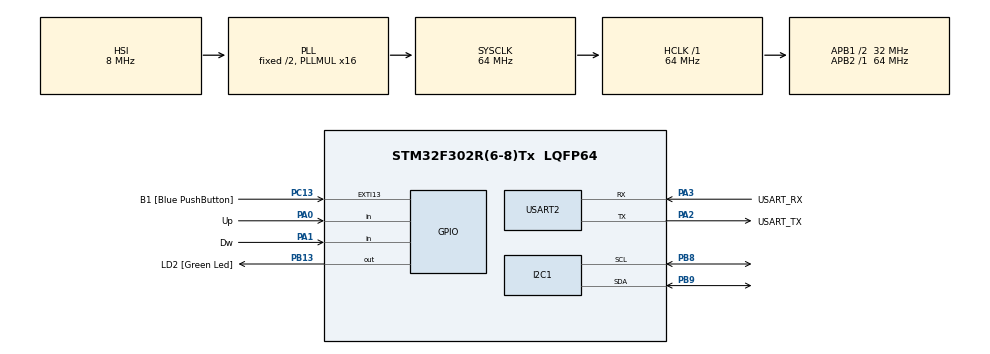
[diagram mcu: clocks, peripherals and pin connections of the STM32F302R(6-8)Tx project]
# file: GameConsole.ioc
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Mcu.Family=STM32F3
Mcu.Name=STM32F302R(6-8)Tx
Mcu.Package=LQFP64
NVIC.PriorityGroup=NVIC_PRIORITYGROUP_0
PA0.GPIO_Label=Up
PA0.GPIO_PuPd=GPIO_PULLDOWN
PA0.Signal=GPIO_Input
PA1.GPIO_Label=Dw
PA1.GPIO_PuPd=GPIO_PULLDOWN
PA1.Signal=GPIO_Input
PA13.GPIO_Label=TMS
PA13.Mode=Serial_Wire
PA13.Signal=SYS_JTMS-SWDIO
PA14.GPIO_Label=TCK
PA14.Mode=Serial_Wire
PA14.Signal=SYS_JTCK-SWCLK
PA2.GPIO_Label=USART_TX
PA2.GPIO_Mode=GPIO_MODE_AF_PP
PA2.GPIO_PuPd=GPIO_NOPULL
PA2.GPIO_Speed=GPIO_SPEED_FREQ_LOW
PA2.Mode=Asynchronous
PA2.Signal=USART2_TX
PA3.GPIO_Label=USART_RX
PA3.GPIO_Mode=GPIO_MODE_AF_PP
PA3.GPIO_PuPd=GPIO_NOPULL
PA3.GPIO_Speed=GPIO_SPEED_FREQ_LOW
PA3.Mode=Asynchronous
PA3.Signal=USART2_RX
PB13.GPIO_Label=LD2 [Green Led]
PB13.Signal=GPIO_Output
PB3.GPIO_Label=SWO
PB3.Mode=Trace_Asynchronous_SW
PB3.Signal=SYS_JTDO-TRACESWO
PB8.Mode=I2C
PB8.Signal=I2C1_SCL
PB9.Mode=I2C
PB9.Signal=I2C1_SDA
PC13.GPIO_Label=B1 [Blue PushButton]
PC13.GPIO_ModeDefaultEXTI=GPIO_MODE_IT_FALLING
PC13.Signal=GPXTI13
PC14\ -\ OSC32_IN.Mode=LSE-External-Oscillator
PC14\ -\ OSC32_IN.Signal=RCC_OSC32_IN
PC15\ -\ OSC32_OUT.Mode=LSE-External-Oscillator
PC15\ -\ OSC32_OUT.Signal=RCC_OSC32_OUT
PF0-OSC_IN.Mode=HSE-External-Clock-Source
PF0-OSC_IN.Signal=RCC_OSC_IN
PF1-OSC_OUT.Signal=RCC_OSC_OUT
ProjectManager.HeapSize=0x200
ProjectManager.StackSize=0x400
ProjectManager.TargetToolchain=STM32CubeIDE
RCC.AHBFreq_Value=64000000
RCC.APB1CLKDivider=RCC_HCLK_DIV2
RCC.APB1Freq_Value=32000000
RCC.APB1TimFreq_Value=64000000
RCC.APB2Freq_Value=64000000
RCC.APB2TimFreq_Value=64000000
RCC.CortexFreq_Value=64000000
RCC.HCLKFreq_Value=64000000
RCC.HSE_VALUE=8000000
RCC.HSI_VALUE=8000000
RCC.PLLM=8
RCC.PLLMUL=RCC_PLL_MUL16
RCC.PLLN=336
RCC.PLLP=RCC_PLLP_DIV4
RCC.PLLQ=7
RCC.RCC_PLLsource_Clock_Source_FROM_HSE=RCC_HSE_PREDIV_DIV2
RCC.SYSCLKFreq_VALUE=64000000
RCC.SYSCLKSourceVirtual=RCC_SYSCLKSOURCE_PLLCLK
RCC.USBFreq_Value=64000000
USART2.VirtualMode-Asynchronous=VM_ASYNC
board=NUCLEO-F302R8

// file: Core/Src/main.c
/* USER CODE BEGIN Header */
/**
  ******************************************************************************
  * @file           : main.c
  * @brief          : Main program body
  ******************************************************************************
  * @attention
  *
  * Copyright (c) 2024 STMicroelectronics.
  * All rights reserved.
  *
  * This software is licensed under terms that can be found in the LICENSE file
  * in the root directory of this software component.
  * If no LICENSE file comes with this software, it is provided AS-IS.
  *
  ******************************************************************************
  */
/* USER CODE END Header */
#include "main.h"

/* USER CODE BEGIN Includes */
void CreateArrow();
/* USER CODE END Includes */

I2C_HandleTypeDef hi2c1;

UART_HandleTypeDef huart2;

void SystemClock_Config(void);
static void MX_GPIO_Init(void);
static void MX_USART2_UART_Init(void);
static void MX_I2C1_Init(void);

/* USER CODE BEGIN 0 */
int State=0;
int Flag=0;
char Fish[]="><>";
int total=0;
/* USER CODE END 0 */

int main(void)
{

  /* MCU Configuration--------------------------------------------------------*/

  /* Reset of all peripherals, Initializes the Flash interface and the Systick. */
  HAL_Init();

  /* Configure the system clock */
  SystemClock_Config();

  /* Initialize all configured peripherals */
  MX_GPIO_Init();
  MX_USART2_UART_Init();
  MX_I2C1_Init();
  /* USER CODE BEGIN 2 */
  lcd_init();
  lcd_put_cur(0,0);
  lcd_send_string(Fish);
  /* USER CODE END 2 */

  /* Infinite loop */
  while (1)
  {

    /* USER CODE BEGIN 3 */
	  if(Flag==0)
	  {
		if(HAL_GPIO_ReadPin(Up_GPIO_Port, Up_Pin))
		{
			lcd_put_cur(1,0);
			lcd_send_string("   ");
			lcd_put_cur(0,0);
			lcd_send_string(Fish);
			State=0;
		}
		if(HAL_GPIO_ReadPin(Dw_GPIO_Port, Dw_Pin))
		{
			lcd_put_cur(0, 0);
			lcd_send_string("   ");
			lcd_put_cur(1, 0);
			lcd_send_string(Fish);
			State=1;
		}
		HAL_Delay(50);
		CreateArrow();
	  }
  }
  /* USER CODE END 3 */
}

void SystemClock_Config(void)
{
  RCC_OscInitTypeDef RCC_OscInitStruct = {0};
  RCC_ClkInitTypeDef RCC_ClkInitStruct = {0};
  RCC_PeriphCLKInitTypeDef PeriphClkInit = {0};

  /** Initializes the RCC Oscillators according to the specified parameters
  * in the RCC_OscInitTypeDef structure.
  */
  RCC_OscInitStruct.OscillatorType = RCC_OSCILLATORTYPE_HSI;
  RCC_OscInitStruct.HSIState = RCC_HSI_ON;
  RCC_OscInitStruct.HSICalibrationValue = RCC_HSICALIBRATION_DEFAULT;
  RCC_OscInitStruct.PLL.PLLState = RCC_PLL_ON;
  RCC_OscInitStruct.PLL.PLLSource = RCC_PLLSOURCE_HSI;
  RCC_OscInitStruct.PLL.PLLMUL = RCC_PLL_MUL16;
  if (HAL_RCC_OscConfig(&RCC_OscInitStruct) != HAL_OK)
  {
    Error_Handler();
  }

  /** Initializes the CPU, AHB and APB buses clocks
  */
  RCC_ClkInitStruct.ClockType = RCC_CLOCKTYPE_HCLK|RCC_CLOCKTYPE_SYSCLK
                              |RCC_CLOCKTYPE_PCLK1|RCC_CLOCKTYPE_PCLK2;
  RCC_ClkInitStruct.SYSCLKSource = RCC_SYSCLKSOURCE_PLLCLK;
  RCC_ClkInitStruct.AHBCLKDivider = RCC_SYSCLK_DIV1;
  RCC_ClkInitStruct.APB1CLKDivider = RCC_HCLK_DIV2;
  RCC_ClkInitStruct.APB2CLKDivider = RCC_HCLK_DIV1;

  if (HAL_RCC_ClockConfig(&RCC_ClkInitStruct, FLASH_LATENCY_2) != HAL_OK)
  {
    Error_Handler();
  }
  PeriphClkInit.PeriphClockSelection = RCC_PERIPHCLK_I2C1;
  PeriphClkInit.I2c1ClockSelection = RCC_I2C1CLKSOURCE_HSI;
  if (HAL_RCCEx_PeriphCLKConfig(&PeriphClkInit) != HAL_OK)
  {
    Error_Handler();
  }
}

static void MX_I2C1_Init(void)
{

  hi2c1.Instance = I2C1;
  hi2c1.Init.Timing = 0x2000090E;
  hi2c1.Init.OwnAddress1 = 0;
  hi2c1.Init.AddressingMode = I2C_ADDRESSINGMODE_7BIT;
  hi2c1.Init.DualAddressMode = I2C_DUALADDRESS_DISABLE;
  hi2c1.Init.OwnAddress2 = 0;
  hi2c1.Init.OwnAddress2Masks = I2C_OA2_NOMASK;
  hi2c1.Init.GeneralCallMode = I2C_GENERALCALL_DISABLE;
  hi2c1.Init.NoStretchMode = I2C_NOSTRETCH_DISABLE;
  if (HAL_I2C_Init(&hi2c1) != HAL_OK)
  {
    Error_Handler();
  }

  /** Configure Analogue filter
  */
  if (HAL_I2CEx_ConfigAnalogFilter(&hi2c1, I2C_ANALOGFILTER_ENABLE) != HAL_OK)
  {
    Error_Handler();
  }

  /** Configure Digital filter
  */
  if (HAL_I2CEx_ConfigDigitalFilter(&hi2c1, 0) != HAL_OK)
  {
    Error_Handler();
  }

}

static void MX_USART2_UART_Init(void)
{

  huart2.Instance = USART2;
  huart2.Init.BaudRate = 38400;
  huart2.Init.WordLength = UART_WORDLENGTH_8B;
  huart2.Init.StopBits = UART_STOPBITS_1;
  huart2.Init.Parity = UART_PARITY_NONE;
  huart2.Init.Mode = UART_MODE_TX_RX;
  huart2.Init.HwFlowCtl = UART_HWCONTROL_NONE;
  huart2.Init.OverSampling = UART_OVERSAMPLING_16;
  huart2.Init.OneBitSampling = UART_ONE_BIT_SAMPLE_DISABLE;
  huart2.AdvancedInit.AdvFeatureInit = UART_ADVFEATURE_NO_INIT;
  if (HAL_UART_Init(&huart2) != HAL_OK)
  {
    Error_Handler();
  }

}

static void MX_GPIO_Init(void)
{
  GPIO_InitTypeDef GPIO_InitStruct = {0};

  /* GPIO Ports Clock Enable */
  __HAL_RCC_GPIOC_CLK_ENABLE();
  __HAL_RCC_GPIOF_CLK_ENABLE();
  __HAL_RCC_GPIOA_CLK_ENABLE();
  __HAL_RCC_GPIOB_CLK_ENABLE();

  /*Configure GPIO pin Output Level */
  HAL_GPIO_WritePin(LD2_GPIO_Port, LD2_Pin, GPIO_PIN_RESET);

  /*Configure GPIO pin : B1_Pin */
  GPIO_InitStruct.Pin = B1_Pin;
  GPIO_InitStruct.Mode = GPIO_MODE_IT_FALLING;
  GPIO_InitStruct.Pull = GPIO_NOPULL;
  HAL_GPIO_Init(B1_GPIO_Port, &GPIO_InitStruct);

  /*Configure GPIO pins : Up_Pin Dw_Pin */
  GPIO_InitStruct.Pin = Up_Pin|Dw_Pin;
  GPIO_InitStruct.Mode = GPIO_MODE_INPUT;
  GPIO_InitStruct.Pull = GPIO_PULLDOWN;
  HAL_GPIO_Init(GPIOA, &GPIO_InitStruct);

  /*Configure GPIO pin : LD2_Pin */
  GPIO_InitStruct.Pin = LD2_Pin;
  GPIO_InitStruct.Mode = GPIO_MODE_OUTPUT_PP;
  GPIO_InitStruct.Pull = GPIO_NOPULL;
  GPIO_InitStruct.Speed = GPIO_SPEED_FREQ_LOW;
  HAL_GPIO_Init(LD2_GPIO_Port, &GPIO_InitStruct);

}

/* USER CODE BEGIN 4 */
char Arrow[]="<-";
int Docomo=0;
int Row;
int Col;
void CreateArrow()
{
	if(Docomo==0)
	{
		Row=rand()%2;
		Col=15;
		lcd_put_cur(Row, Col);
		lcd_send_string(Arrow);
		Docomo=1;
	}
	else if(Col==0)
	{
		lcd_put_cur(Row, Col);
		total+=1;
		lcd_send_string("  ");
		Docomo=0;
	}
	else if(Row==State && Col==3)
	{
		lcd_put_cur(0, 0);
		lcd_send_string("GAME OVER...");
		lcd_put_cur(1, 0);
		char msg[100];
		sprintf(msg,"Your Score %d",total);
		lcd_send_string(msg);
		Flag=1;
	}
	else
	{
		lcd_put_cur(Row, Col);
		lcd_send_string("  ");
		Col-=1;
		lcd_put_cur(Row, Col);
		lcd_send_string(Arrow);
	}
}
/* USER CODE END 4 */

void Error_Handler(void)
{
  __disable_irq();
  while (1)
  {
  }
}
